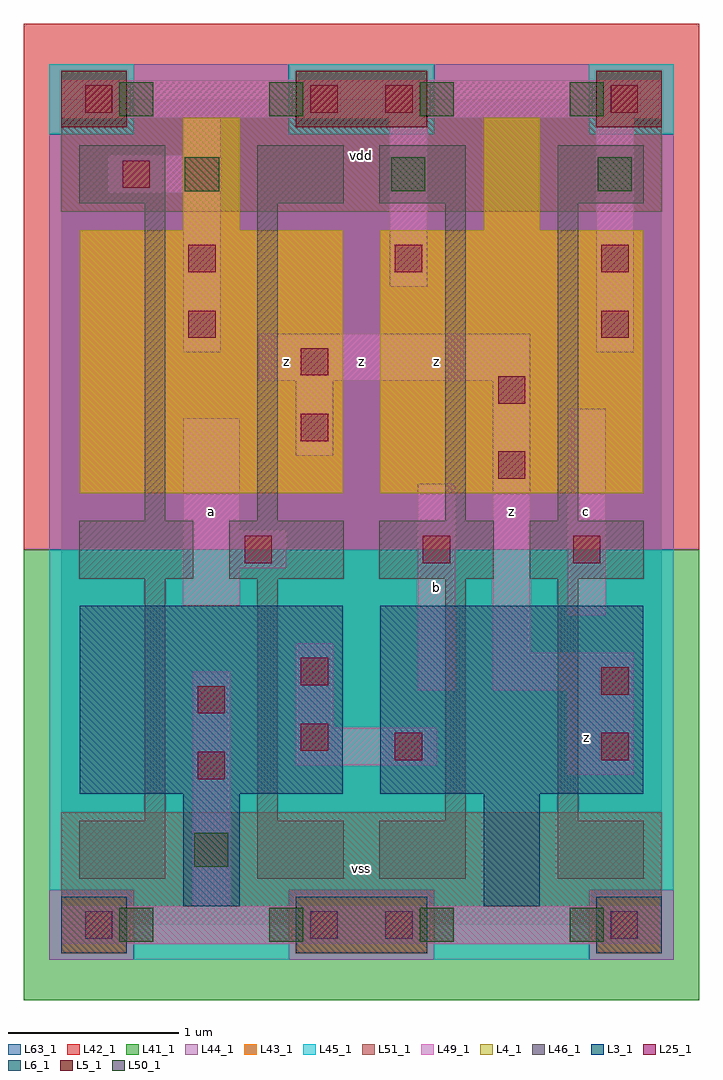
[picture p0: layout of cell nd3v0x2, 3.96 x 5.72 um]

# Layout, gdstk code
import gdstk
lib = gdstk.Library(unit=1e-6, precision=1e-09)
def R(c, l, rs):  # rectangles x0, y0, x1, y1
    for r in rs: c.add(gdstk.rectangle(r[:2], r[2:], *l))
def A(c, l, x, y, w, h, nx, ny, dx, dy):  # array of equal rectangles
    R(c, l, [(x+i*dx, y+j*dy, x+i*dx+w, y+j*dy+h) for i in range(nx) for j in range(ny)])
L3_1 = (3, 1)
L4_1 = (4, 1)
L5_1 = (5, 1)
L6_1 = (6, 1)
L25_1 = (25, 1)
L41_1 = (41, 1)
L42_1 = (42, 1)
L43_1 = (43, 1)
L44_1 = (44, 1)
L45_1 = (45, 1)
L46_1 = (46, 1)
L49_1 = (49, 1)
L50_1 = (50, 1)
L51_1 = (51, 1)
L63_1 = (63, 1)

nd3v0x2 = lib.new_cell('nd3v0x2')
R(nd3v0x2, L3_1, [(0.715,0.11,1.045,0.77), (2.475,0.11,2.805,0.77), (0.11,0.77,1.65,1.87), (1.87,0.77,3.41,1.87)])
R(nd3v0x2, L4_1, [(0.11,2.53,1.65,4.07), (1.87,2.53,3.41,4.07), (0.715,4.07,1.045,4.73), (2.475,4.07,2.805,4.73)])
R(nd3v0x2, L5_1, [(0,4.675,0.385,5.005), (1.375,4.675,2.145,5.005), (3.135,4.675,3.52,5.005)])
R(nd3v0x2, L6_1, [(0,-0.165,0.385,0.165), (1.375,-0.165,2.145,0.165), (3.135,-0.165,3.52,0.165)])
A(nd3v0x2, L25_1, 0.745, 3.825, 0.16, 0.16, 3, 1, 1.21, 0)
R(nd3v0x2, L25_1, [(0.14,-0.08,0.3,0.08), (1.46,-0.08,1.62,0.08), (1.9,-0.08,2.06,0.08), (3.22,-0.08,3.38,0.08), (0.8,0.855,0.96,1.015), (1.955,0.965,2.115,1.125), (3.165,0.965,3.325,1.125), (1.405,1.02,1.565,1.18), (0.8,1.24,0.96,1.4), (3.165,1.35,3.325,1.51), (1.405,1.405,1.565,1.565), (1.075,2.12,1.235,2.28), (2.12,2.12,2.28,2.28), (3,2.12,3.16,2.28), (2.56,2.615,2.72,2.775), (1.405,2.835,1.565,2.995), (2.56,3.055,2.72,3.215), (1.405,3.22,1.565,3.38), (0.745,3.44,0.905,3.6), (3.165,3.44,3.325,3.6), (0.36,4.32,0.52,4.48), (0.14,4.76,0.3,4.92), (1.46,4.76,1.62,4.92), (1.9,4.76,2.06,4.92), (3.22,4.76,3.38,4.92)])
R(nd3v0x2, L41_1, [(-0.22,-0.44,3.74,2.2)])
R(nd3v0x2, L42_1, [(-0.22,2.2,3.74,5.28)])
R(nd3v0x2, L43_1, [(0,-0.165,0.385,0.165), (1.375,-0.165,2.145,0.165), (3.135,-0.165,3.52,0.165), (0.715,0.11,1.045,0.77), (2.475,0.11,2.805,0.77), (0.11,0.77,1.65,1.87), (1.87,0.77,3.41,1.87), (0.11,2.53,1.65,4.07), (1.87,2.53,3.41,4.07), (0.715,4.07,1.045,4.73), (2.475,4.07,2.805,4.73), (0,4.675,0.385,5.005), (1.375,4.675,2.145,5.005), (3.135,4.675,3.52,5.005)])
R(nd3v0x2, L44_1, [(-0.07,-0.205,0.425,0.205), (1.335,-0.205,2.185,0.205), (3.095,-0.205,3.59,0.205), (-0.07,2.2,3.59,4.635), (0.425,4.635,1.335,5.045), (2.185,4.635,3.095,5.045)])
R(nd3v0x2, L45_1, [(0.425,-0.205,1.335,0.205), (2.185,-0.205,3.095,0.205), (-0.07,0.205,3.59,2.2), (-0.07,4.635,0.425,5.045), (1.335,4.635,2.185,5.045), (3.095,4.635,3.59,5.045)])
A(nd3v0x2, L46_1, 0.105, 2.03, 0.67, 0.34, 4, 1, 0.88, 0)
R(nd3v0x2, L46_1, [(0.105,0.27,0.61,0.61), (1.15,0.27,1.655,0.61), (1.865,0.27,2.37,0.61), (2.91,0.27,3.415,0.61), (0.49,0.61,0.61,2.03), (1.15,0.61,1.27,2.03), (2.25,0.61,2.37,2.03), (2.91,0.61,3.03,2.03), (0.49,2.37,0.61,4.23), (1.15,2.37,1.27,4.23), (2.25,2.37,2.37,4.23), (2.91,2.37,3.03,4.23), (0.105,4.23,0.61,4.57), (1.15,4.23,1.655,4.57), (1.865,4.23,2.37,4.57), (2.91,4.23,3.415,4.57)])
R(nd3v0x2, L49_1, [(0,-0.11,3.52,0.11), (0.77,0.11,0.99,1.485), (2.97,0.88,3.355,1.375), (1.375,0.935,2.2,1.155), (1.375,1.155,1.595,1.65), (2.09,1.375,2.31,2.585), (2.53,1.375,3.355,1.595), (2.53,1.595,2.75,3.19), (2.97,1.815,3.19,3.025), (0.715,1.87,1.045,2.09), (0.715,2.09,1.32,2.31), (0.715,2.31,1.045,2.97), (1.375,2.75,1.595,3.19), (1.155,3.19,2.75,3.465), (0.715,3.355,0.935,4.29), (3.135,3.355,3.355,4.73), (1.925,3.74,2.145,4.73), (0.275,4.29,0.935,4.51), (0.715,4.51,0.935,4.73), (0,4.73,3.52,4.95)])
A(nd3v0x2, L50_1, 0.34, -0.1, 0.2, 0.2, 4, 2, 0.88, 4.84)
A(nd3v0x2, L50_1, 0.725, 4.3, 0.2, 0.2, 3, 1, 1.21, 0)
R(nd3v0x2, L50_1, [(0.78,0.34,0.98,0.54)])
R(nd3v0x2, L51_1, [(0,-0.11,3.52,0.66), (0,4.18,3.52,4.95)])
R(nd3v0x2, L63_1, [(0,0,3.52,4.84)])
nd3v0x2.add(gdstk.Label('a', (0.88,2.42), layer=49, texttype=1))
nd3v0x2.add(gdstk.Label('z', (1.32,3.3), layer=49, texttype=1))
nd3v0x2.add(gdstk.Label('b', (2.2,1.98), layer=49, texttype=1))
nd3v0x2.add(gdstk.Label('z', (1.76,3.3), layer=49, texttype=1))
nd3v0x2.add(gdstk.Label('z', (2.2,3.3), layer=49, texttype=1))
nd3v0x2.add(gdstk.Label('z', (3.08,1.1), layer=49, texttype=1))
nd3v0x2.add(gdstk.Label('c', (3.08,2.42), layer=49, texttype=1))
nd3v0x2.add(gdstk.Label('z', (2.64,2.42), layer=49, texttype=1))
nd3v0x2.add(gdstk.Label('vss', (1.76,0.33), layer=51, texttype=1))
nd3v0x2.add(gdstk.Label('vdd', (1.76,4.51), layer=51, texttype=1))

lib.write_gds('nd3v0x2.gds')
